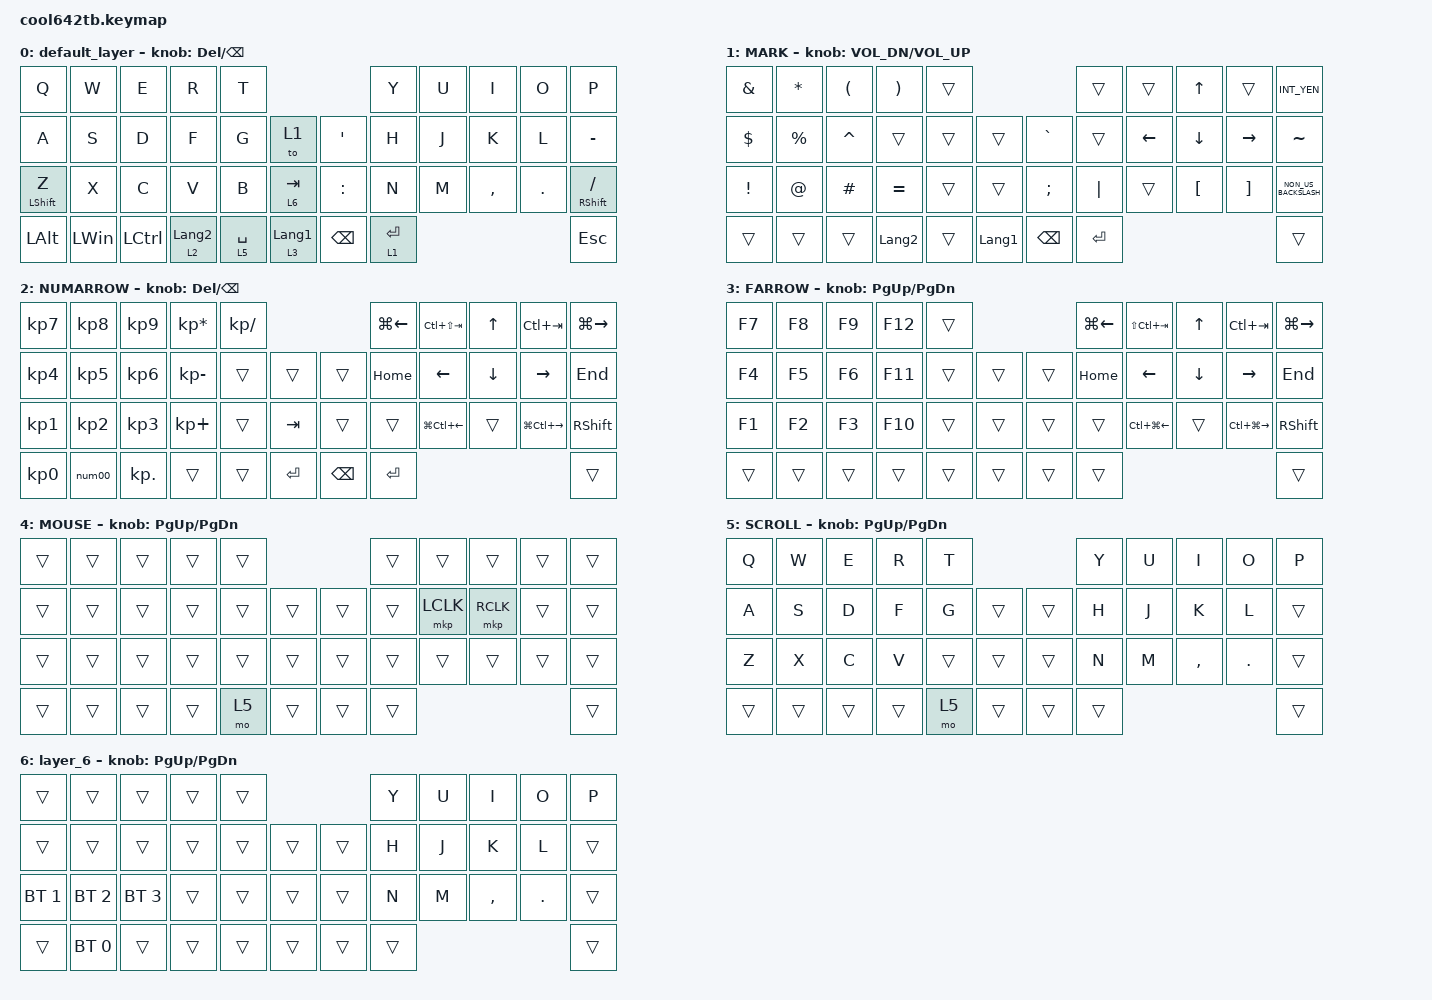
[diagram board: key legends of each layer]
#include <behaviors.dtsi>
#include <dt-bindings/zmk/bt.h>
#include <dt-bindings/zmk/keys.h>
#include <dt-bindings/zmk/pointing.h>

#define MOUSE 4
#define SCROLL 5
#define NUM 6

&mt {
    flavor = "balanced";
    quick-tap-ms = <0>;
};

/ {
    combos { compatible = "zmk,combos"; };

    macros {
        to_layer_0: to_layer_0 {
            compatible = "zmk,behavior-macro-one-param";
            #binding-cells = <1>;
            bindings = <&to 0 &macro_param_1to1 &kp MACRO_PLACEHOLDER>;
            label = "TO_LAYER_0";
        };

        num00: num00 {
            compatible = "zmk,behavior-macro";
            #binding-cells = <0>;
            bindings = <&kp KP_NUMBER_0 &kp KP_NUMBER_0>;
            label = "NUM00";
        };
    };

    behaviors {
        lt_to_layer_0: lt_to_layer_0 {
            compatible = "zmk,behavior-hold-tap";
            label = "LAYER_TAP_TO_0";
            bindings = <&mo>, <&to_layer_0>;

            #binding-cells = <2>;
            tapping-term-ms = <200>;
        };
    };

    keymap {
        compatible = "zmk,keymap";

        default_layer {
            bindings = <
&kp Q             &kp W         &kp E      &kp R             &kp T                                         &kp Y        &kp U  &kp I      &kp O       &kp P
&kp A             &kp S         &kp D      &kp F             &kp G        &to 1             &kp SQT        &kp H        &kp J  &kp K      &kp L       &kp MINUS
&mt LEFT_SHIFT Z  &kp X         &kp C      &kp V             &kp B        &lt 6 TAB         &kp COLON      &kp N        &kp M  &kp COMMA  &kp PERIOD  &mt RIGHT_SHIFT SLASH
&kp LEFT_ALT      &kp LEFT_WIN  &kp LCTRL  &lt 2 LANGUAGE_2  &lt 5 SPACE  &lt 3 LANGUAGE_1  &kp BACKSPACE  &lt 1 ENTER                                &kp ESCAPE
            >;

            sensor-bindings = <&inc_dec_kp DELETE BACKSPACE>;
        };

        MARK {
            bindings = <
&kp AMPERSAND    &kp ASTERISK  &kp LEFT_PARENTHESIS  &kp RIGHT_PARENTHESIS  &trans                                 &trans     &trans          &kp UP_ARROW      &trans             &kp INT_YEN
&kp DOLLAR       &kp PERCENT   &kp CARET             &trans                 &trans  &trans          &kp GRAVE      &trans     &kp LEFT_ARROW  &kp DOWN_ARROW    &kp RIGHT_ARROW    &kp TILDE
&kp EXCLAMATION  &kp AT_SIGN   &kp HASH              &kp EQUAL              &trans  &trans          &kp SEMICOLON  &kp PIPE   &trans          &kp LEFT_BRACKET  &kp RIGHT_BRACKET  &kp NON_US_BACKSLASH
&trans           &trans        &trans                &kp LANGUAGE_2         &trans  &kp LANGUAGE_1  &kp BACKSPACE  &kp ENTER                                                       &trans
            >;

            sensor-bindings = <&inc_dec_kp C_VOL_DN C_VOL_UP>;
        };

        NUMARROW {
            bindings = <
&kp KP_NUMBER_7  &kp KP_NUMBER_8  &kp KP_NUMBER_9  &kp KP_ASTERISK  &kp KP_SLASH                            &kp LG(LEFT_ARROW)  &kp LC(LS(TAB))         &kp UP_ARROW    &kp LC(TAB)              &kp LG(RIGHT_ARROW)
&kp KP_NUMBER_4  &kp KP_NUMBER_5  &kp KP_NUMBER_6  &kp KP_MINUS     &trans        &trans     &trans         &kp HOME            &kp LEFT_ARROW          &kp DOWN_ARROW  &kp RIGHT                &kp END
&kp KP_NUMBER_1  &kp KP_N2        &kp KP_NUMBER_3  &kp KP_PLUS      &trans        &kp TAB    &trans         &trans              &kp LG(LC(LEFT_ARROW))  &trans          &kp LG(LC(RIGHT_ARROW))  &kp RIGHT_SHIFT
&kp KP_NUMBER_0  &num00           &kp KP_DOT       &trans           &trans        &kp ENTER  &kp BACKSPACE  &kp ENTER                                                                            &trans
            >;

            sensor-bindings = <&inc_dec_kp DELETE BACKSPACE>;
        };

        FARROW {
            bindings = <
&kp F7  &kp F8  &kp F9  &kp F12  &trans                  &kp LG(LEFT_ARROW)  &kp LS(LC(TAB))         &kp UP_ARROW    &kp LC(TAB)              &kp LG(RIGHT_ARROW)
&kp F4  &kp F5  &kp F6  &kp F11  &trans  &trans  &trans  &kp HOME            &kp LEFT_ARROW          &kp DOWN_ARROW  &kp RIGHT_ARROW          &kp END
&kp F1  &kp F2  &kp F3  &kp F10  &trans  &trans  &trans  &trans              &kp LC(LG(LEFT_ARROW))  &trans          &kp LC(LG(RIGHT_ARROW))  &kp RIGHT_SHIFT
&trans  &trans  &trans  &trans   &trans  &trans  &trans  &trans                                                                               &trans
            >;

            sensor-bindings = <&inc_dec_kp PG_UP PAGE_DOWN>;
        };

        MOUSE {
            bindings = <
&trans  &trans  &trans  &trans  &trans                  &trans  &trans     &trans     &trans  &trans
&trans  &trans  &trans  &trans  &trans  &trans  &trans  &trans  &mkp LCLK  &mkp RCLK  &trans  &trans
&trans  &trans  &trans  &trans  &trans  &trans  &trans  &trans  &trans     &trans     &trans  &trans
&trans  &trans  &trans  &trans  &mo 5   &trans  &trans  &trans                                &trans
            >;

            sensor-bindings = <&inc_dec_kp PG_UP PAGE_DOWN>;
        };

        SCROLL {
            bindings = <
&kp Q   &kp W   &kp E   &kp R   &kp T                   &kp Y   &kp U  &kp I      &kp O       &kp P
&kp A   &kp S   &kp D   &kp F   &kp G   &trans  &trans  &kp H   &kp J  &kp K      &kp L       &trans
&kp Z   &kp X   &kp C   &kp V   &trans  &trans  &trans  &kp N   &kp M  &kp COMMA  &kp PERIOD  &trans
&trans  &trans  &trans  &trans  &mo 5   &trans  &trans  &trans                                &trans
            >;

            sensor-bindings = <&inc_dec_kp PG_UP PAGE_DOWN>;
        };

        layer_6 {
            bindings = <
&trans        &trans        &trans        &trans  &trans                  &kp Y   &kp U  &kp I      &kp O       &kp P
&trans        &trans        &trans        &trans  &trans  &trans  &trans  &kp H   &kp J  &kp K      &kp L       &trans
&bt BT_SEL 1  &bt BT_SEL 2  &bt BT_SEL 3  &trans  &trans  &trans  &trans  &kp N   &kp M  &kp COMMA  &kp PERIOD  &trans
&trans        &bt BT_SEL 0  &trans        &trans  &trans  &trans  &trans  &trans                                &trans
            >;

            sensor-bindings = <&inc_dec_kp PG_UP PAGE_DOWN>;
        };
    };
};
